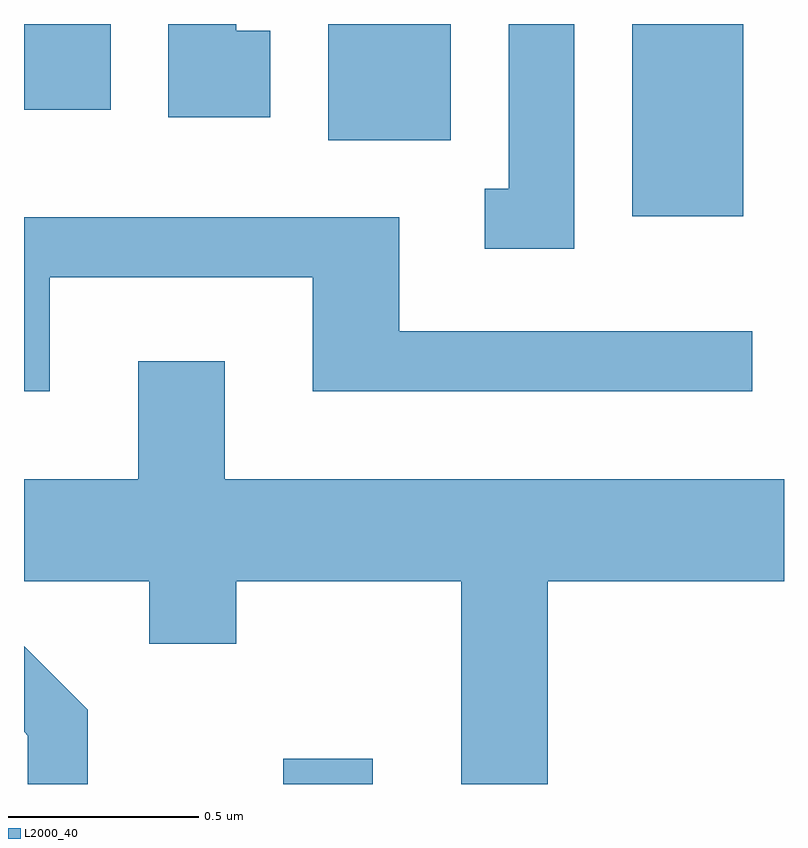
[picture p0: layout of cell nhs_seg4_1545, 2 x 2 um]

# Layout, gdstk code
import gdstk
lib = gdstk.Library(unit=1e-6, precision=1e-09)
def R(c, l, rs):  # rectangles x0, y0, x1, y1
    for r in rs: c.add(gdstk.rectangle(r[:2], r[2:], *l))
def P(c, l, *ps):  # polygons
    for p in ps: c.add(gdstk.Polygon(p, *l))
L2000_40 = (2000, 40)

nhs_seg4_1545 = lib.new_cell('nhs_seg4_1545')
R(nhs_seg4_1545, L2000_40, [(197.293,1291.982,197.529,1292.049), (198.211,1293.476,198.504,1293.982), (197.411,1293.676,197.734,1293.982), (196.611,1293.756,196.839,1293.982)])
P(nhs_seg4_1545, L2000_40, [(198.059,1293.982),(197.886,1293.982),(197.886,1293.549),(197.823,1293.549),(197.823,1293.391),(198.059,1293.391)],
  [(197.259,1293.964),(197.169,1293.964),(197.169,1293.982),(196.991,1293.982),(196.991,1293.736),(197.259,1293.736)],
  [(196.679,1293.316),(197.371,1293.316),(197.371,1293.016),(198.528,1293.016),(198.528,1293.174),(197.599,1293.174),(197.599,1293.474),(196.611,1293.474),(196.611,1293.016),(196.679,1293.016)],
  [(197.989,1292.516),(198.611,1292.516),(198.611,1292.784),(197.139,1292.784),(197.139,1293.094),(196.911,1293.094),(196.911,1292.784),(196.611,1292.784),(196.611,1292.516),(196.941,1292.516),(196.941,1292.351),(197.169,1292.351),(197.169,1292.516),(197.761,1292.516),(197.761,1291.982),(197.989,1291.982)],
  [(196.779,1292.177),(196.611,1292.345),(196.611,1292.119),(196.621,1292.109),(196.621,1291.982),(196.779,1291.982)])

lib.write_gds('nhs_seg4_1545.gds')
